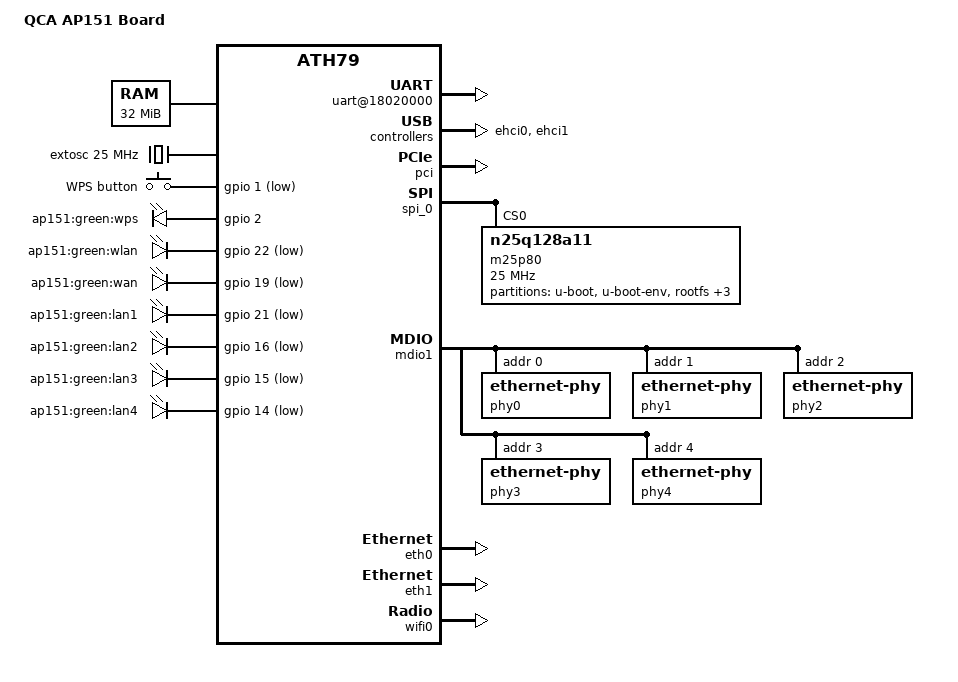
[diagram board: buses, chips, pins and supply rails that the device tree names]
/* Copyright (c) 2016-2017, The Linux Foundation. All rights reserved.
 *
 * Permission to use, copy, modify, and/or distribute this software for any
 * purpose with or without fee is hereby granted, provided that the above
 * copyright notice and this permission notice appear in all copies.
 *
 * THE SOFTWARE IS PROVIDED "AS IS" AND THE AUTHOR DISCLAIMS ALL WARRANTIES
 * WITH REGARD TO THIS SOFTWARE INCLUDING ALL IMPLIED WARRANTIES OF
 * MERCHANTABILITY AND FITNESS. IN NO EVENT SHALL THE AUTHOR BE LIABLE FOR
 * ANY SPECIAL, DIRECT, INDIRECT, OR CONSEQUENTIAL DAMAGES OR ANY DAMAGES
 * WHATSOEVER RESULTING FROM LOSS OF USE, DATA OR PROFITS, WHETHER IN AN
 * ACTION OF CONTRACT, NEGLIGENCE OR OTHER TORTIOUS ACTION, ARISING OUT OF
 * OR IN CONNECTION WITH THE USE OR PERFORMANCE OF THIS SOFTWARE.
 *
 */

/dts-v1/;

#include <dt-bindings/gpio/gpio.h>
#include <dt-bindings/input/input.h>

#include "ath79.dtsi"

/ {
	compatible = "qca,ap151", "qca,ath79";
	model = "QCA AP151 Board";

	aliases {
		serial0 = "/ahb/apb/uart@18020000";
		ehci_0 = &ehci0;
		ehci_1 = &ehci1;
		eth0 = "/ahb/ethernet@19000000";
		eth1 = "/ahb/ethernet@1a000000";
	};

	memory@0 {
		device_type = "memory";
		reg = <0x0 0x2000000>;
	};

	chosen {
		bootargs = "board=DTB console=ttyS0,115200 mtdparts=spi0.0:256k(u-boot)ro,64k(u-boot-env),14528k(rootfs),1472k(kernel),64k(art),16000k@0x50000(firmware) rootfstype=squashfs,jffs2 noinitrd crashkernel=10M@20M";
	};

	extosc: oscillator {
		compatible = "fixed-clock";
		#clock-cells = <0>;
		clock-frequency = <25000000>;
	};

	ahb {
		apb {
			uart@18020000 {
				status = "okay";
			};

			gpio@18040000 {
				val,gpio = <
					36 19      /*VALUE GPIO */
					35 21
					34 16
					17 15
					16 14
				>;
			};

			pll-controller@18050000 {
				clocks = <&extosc>;
			};

			ehci0: usb@1b000000 {
				compatible = "qca,ath79-ehci";
				reg = <0x1b000000 0x200>;
				interrupt-parent = <&ip3_int>;
				interrupts = <0>;
				has-transaction-translator;
				qca_force_host_mode;
				qca_force_16bit_ptw;
				caps-offset = <0x100>;
				status = "okay";
			};

			ehci1: usb@1b400000 {
				compatible = "qca,ath79-ehci";
				reg = <0x1b400000 0x200>;
				interrupt-parent = <&ip3_int>;
				interrupts = <1>;
				has-transaction-translator;
				qca_force_host_mode;
				qca_force_16bit_ptw;
				caps-offset = <0x100>;
				status = "okay";
			};

			pci: pci@0x16000000 {
				compatible = "qca,ar724x-pci";
				reg = <0x16000000 0x1000>,
				      <0x18280000 0x100>,
				      <0x18250000 0x1000>,
				      <0x12000000 0x02000000>,
					<1 1>;
				reg-names = "cfg_base","ctrl_base","crp_base",
						"mem_base","io_base";
				interrupt-parent = <&ip3_int>;
				interrupts = <2>;
				status = "okay";
			};
		};

		spi_0: spi@1f000000 {
			status = "okay";
			m25p80@0 {
				#address-cells = <1>;
				#size-cells = <1>;
				compatible = "n25q128a11";
				linux,modalias = "m25p80", "n25q128a11";
				reg = <0>;
				spi-max-frequency = <25000000>;

				partition@0 {
					label = "u-boot";
					reg = <0x000000 0x040000>;
				};

				partition@1 {
					label = "u-boot-env";
					reg = <0x040000 0x050000>;
				};

				partition@2 {
					label = "rootfs";
					reg = <0x050000 0xe80000>;
				};

				partition@3 {
					label = "kernel";
					reg = <0xe80000 0xff0000>;
				};

				partition@4 {
					label = "art";
					reg = <0xff0000 0x1000000>;
				};

				partition@5 {
					label = "firmware";
					reg = <0x50000 0xff0000>;
				};
			};
		};

		mdio1: mdio@1a000000 {
			compatible = "qca,ag71xx-mdio";
			reg = <0x1a000000 0x200>;
			phy-mask = <0>;
			builtin-switch = <1>;
			ar934x-support = <0>;
			reset-bit = <0x800100>;
			phy0: ethernet-phy@0 {
				reg = <0>;
			};
			phy1: ethernet-phy@1 {
				reg = <1>;
			};
			phy2: ethernet-phy@2 {
				reg = <2>;
			};
			phy3: ethernet-phy@3 {
				reg = <3>;
			};
			phy4: ethernet-phy@4 {
				reg = <4>;
			};
		};

		eth0: ethernet@19000000 {
			compatible = "qca,ag71xx-eth";
			reg = <0x19000000 0x200>,
			      <0x18070000 0x14>;
			reg-names = "mac_base",
				    "cfg_base";
			mdio-handle = <&mdio1>;
			eth-pll-data = <0 0 0>;
			phy-mode = <1>;
			phy-mask = <0x10>;
			force-speed = <100>;
			force-duplex = <1>;
			max-frame-len = <4095>;
			desc-pktlen-mask = <0x3fff>;
			reset-bit = <0x200>;
			has-gbit = <1>;
			ar724x-support = <1>;
			qca955x-support = <0>;
			qca9561-support = <1>;
			qca956x-support;
			fifo-cfg = <0x0010ffff 0x015500aa 0x01f00140>;
			interrupts = <4>;
			interrupt-names = "mac_irq";
			local-mac-address = [ 00 00 00 00 00 00 ];
		};

		eth1: ethernet@1a000000 {
			compatible = "qca,ag71xx-eth";
			reg = <0x1a000000 0x200>;
			reg-names = "mac_base";
			mdio-handle = <&mdio1>;
			eth-pll-data = <0 0 0>;
			phy-mode = <2>;
			phy-mask = <0>;
			force-speed = <1000>;
			force-duplex = <1>;
			max-frame-len = <4095>;
			desc-pktlen-mask = <0x3fff>;
			reset-bit = <0x2000>;
			has-gbit = <1>;
			ar724x-support = <1>;
			qca955x-support = <0>;
			qca956x-support;
			fifo-cfg = <0x0010ffff 0x015500aa 0x01f00140>;
			builtin-switch = <1 0x10>;
			interrupts = <5>;
			interrupt-names = "mac_irq";
			local-mac-address = [ 00 00 00 00 00 00 ];
		};
	};

	gpio-keys-polled {
		compatible = "gpio-keys-polled";
		#address-cells = <1>;
		#size-cells = <0>;

		poll-interval = <20>;

		button@0 {
			label = "WPS button";
			linux,code = <KEY_WPS_BUTTON>;
			gpios = <&gpio 1 GPIO_ACTIVE_LOW>;
			debounce-interval = <60>;
		};
	};

	leds {
		compatible = "gpio-leds";
		led@0 {
			label = "ap151:green:wps";
			gpios = <&gpio 2 GPIO_ACTIVE_HIGH>;
		};

		led@1 {
			label = "ap151:green:wlan";
			gpios = <&gpio 22 GPIO_ACTIVE_LOW>;
		};

		led@2 {
			label = "ap151:green:wan";
			gpios = <&gpio 19 GPIO_ACTIVE_LOW>;
		};

		led@3 {
			label = "ap151:green:lan1";
			gpios = <&gpio 21 GPIO_ACTIVE_LOW>;
		};

		led@4 {
			label = "ap151:green:lan2";
			gpios = <&gpio 16 GPIO_ACTIVE_LOW>;
		};

		led@5 {
			label = "ap151:green:lan3";
			gpios = <&gpio 15 GPIO_ACTIVE_LOW>;
		};

		led@6 {
			label = "ap151:green:lan4";
			gpios = <&gpio 14 GPIO_ACTIVE_LOW>;
		};
	};

	wifi0: wifi@b8100000 {
		compatible = "qca,wifi-ar956x";
		reg = <0xb8100000 0x20000>;
		core-id = <0x0>;

		interrupt-parent = <&ip2_int>;
		interrupts = <1>;
		interrupt-names = "legacy";
		status = "ok";
	};

};
